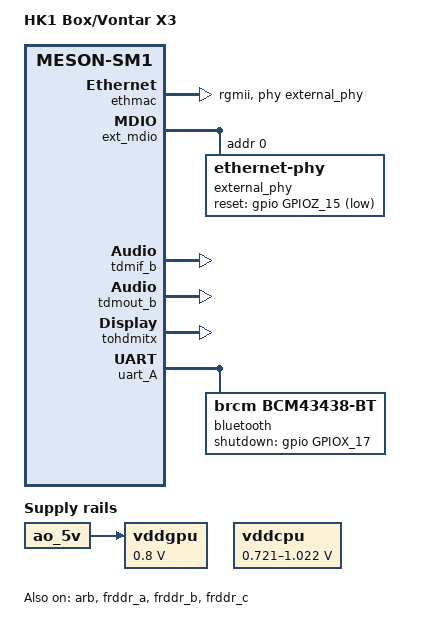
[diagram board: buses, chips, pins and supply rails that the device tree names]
// SPDX-License-Identifier: (GPL-2.0+ OR MIT)
/*
 * Copyright (c) 2019 BayLibre SAS. All rights reserved.
 * Copyright (c) 2020 Christian Hewitt <christianshewitt@gmail.com>
 * Copyright (c) 2021 flippy <uniqfreq@gmail.com>
 */

/dts-v1/;

#include "meson-sm1-ac2xx.dtsi"
#include <dt-bindings/sound/meson-g12a-tohdmitx.h>

/ {
	compatible = "amlogic,hk1box", "amlogic,sm1";
	model = "HK1 Box/Vontar X3";

	sound {
		compatible = "amlogic,axg-sound-card";
		model = "HK1-BOX";
		audio-aux-devs = <&tdmout_b>;
		audio-routing = "TDMOUT_B IN 0", "FRDDR_A OUT 1",
				"TDMOUT_B IN 1", "FRDDR_B OUT 1",
				"TDMOUT_B IN 2", "FRDDR_C OUT 1",
				"TDM_B Playback", "TDMOUT_B OUT";

		assigned-clocks = <&clkc CLKID_MPLL2>,
				  <&clkc CLKID_MPLL0>,
				  <&clkc CLKID_MPLL1>;
		assigned-clock-parents = <0>, <0>, <0>;
		assigned-clock-rates = <294912000>,
				       <270950400>,
				       <393216000>;
		status = "okay";

		dai-link-0 {
			sound-dai = <&frddr_a>;
		};

		dai-link-1 {
			sound-dai = <&frddr_b>;
		};

		dai-link-2 {
			sound-dai = <&frddr_c>;
		};

		/* 8ch hdmi interface */
		dai-link-3 {
			sound-dai = <&tdmif_b>;
			dai-format = "i2s";
			dai-tdm-slot-tx-mask-0 = <1 1>;
			dai-tdm-slot-tx-mask-1 = <1 1>;
			dai-tdm-slot-tx-mask-2 = <1 1>;
			dai-tdm-slot-tx-mask-3 = <1 1>;
			mclk-fs = <256>;

			codec {
				sound-dai = <&tohdmitx TOHDMITX_I2S_IN_B>;
			};
		};

		/* hdmi glue */
		dai-link-4 {
			sound-dai = <&tohdmitx TOHDMITX_I2S_OUT>;

			codec {
				sound-dai = <&hdmi_tx>;
			};
		};
	};

	vddgpu: regulator-vddgpu {
		compatible = "regulator-fixed";
		regulator-name = "mali";
		regulator-min-microvolt = <800000>;
		regulator-max-microvolt = <800000>;
		vin-supply = <&ao_5v>;
		regulator-always-on;
	};
};

&vddcpu {
	regulator-min-microvolt = <721000>;
	regulator-max-microvolt = <1022000>;
	pwms = <&pwm_AO_cd 1 1250 0>;
};

&arb {
	status = "okay";
};

&clkc_audio {
	status = "okay";
};

&ethmac {
	status = "okay";

	pinctrl-0 = <&eth_pins>, <&eth_rgmii_pins>;
	pinctrl-names = "default";
	phy-mode = "rgmii";
	phy-handle = <&external_phy>;
	
	amlogic,tx-delay-ns = <2>;
};

&ext_mdio {
	external_phy: ethernet-phy@0 {
		/* Realtek RTL8211F (0x001cc916) */
		reg = <0>;
		max-speed = <1000>;

		reset-assert-us = <10000>;
		reset-deassert-us = <80000>;
		reset-gpios = <&gpio GPIOZ_15 (GPIO_ACTIVE_LOW | GPIO_OPEN_DRAIN)>;

		interrupt-parent = <&gpio_intc>;
		/* MAC_INTR on GPIOZ_14 */
		interrupts = <26 IRQ_TYPE_LEVEL_LOW>;
	};
};

&frddr_a {
	status = "okay";
};

&frddr_b {
	status = "okay";
};

&frddr_c {
	status = "okay";
};

&tdmif_b {
	status = "okay";
};

&tdmout_b {
	status = "okay";
};

&tohdmitx {
	status = "okay";
};

&uart_A {
	status = "okay";

	pinctrl-0 = <&uart_a_pins>, <&uart_a_cts_rts_pins>;
	pinctrl-names = "default";
	uart-has-rtscts;

	bluetooth {
		compatible = "brcm,bcm43438-bt";
		shutdown-gpios = <&gpio GPIOX_17 GPIO_ACTIVE_HIGH>;
		max-speed = <2000000>;
		clocks = <&wifi32k>;
		clock-names = "lpo";
	};
};

&mali {
	mali-supply=<&vddgpu>;
};

/* SDIO */
&sd_emmc_a {
	/delete-property/ sd-uhs-sdr104;
	sd-uhs-sdr50;
	max-frequency = <100000000>;
};

/* SD card */
&sd_emmc_b {
	max-frequency = <50000000>;
};
